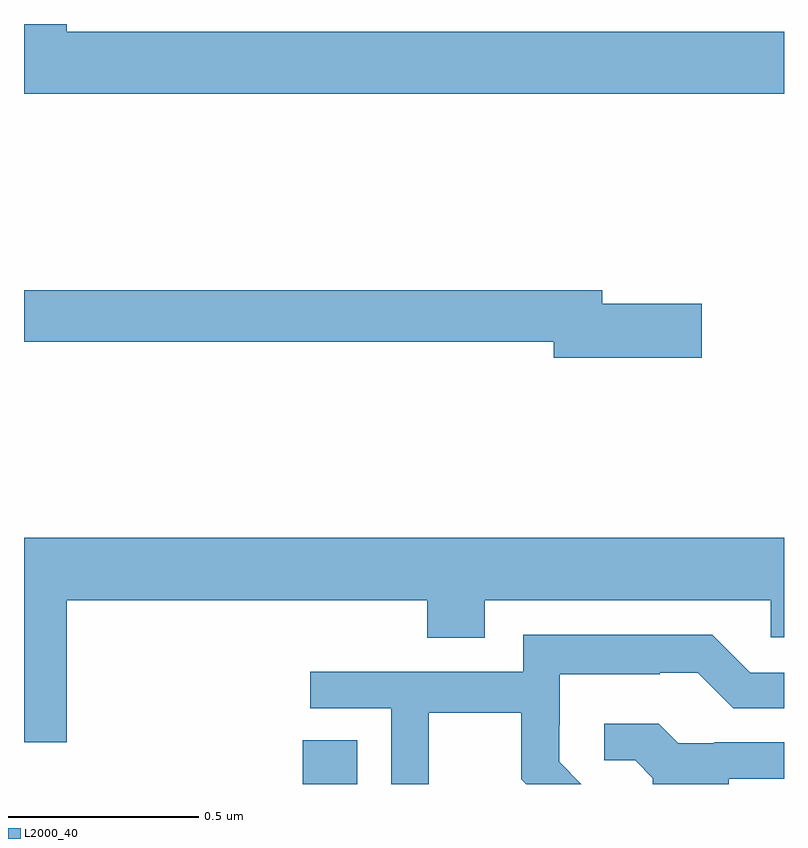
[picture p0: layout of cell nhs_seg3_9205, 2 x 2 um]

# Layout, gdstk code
import gdstk
lib = gdstk.Library(unit=1e-6, precision=1e-09)
def R(c, l, rs):  # rectangles x0, y0, x1, y1
    for r in rs: c.add(gdstk.rectangle(r[:2], r[2:], *l))
def P(c, l, *ps):  # polygons
    for p in ps: c.add(gdstk.Polygon(p, *l))
L2000_40 = (2000, 40)

nhs_seg3_9205 = lib.new_cell('nhs_seg3_9205')
R(nhs_seg3_9205, L2000_40, [(225.734,732.4,225.877,732.515)])
P(nhs_seg3_9205, L2000_40, [(227,734.38),(225.112,734.38),(225.112,734.4),(225,734.4),(225,734.216),(227,734.216)],
  [(226.783,733.664),(226.522,733.664),(226.522,733.7),(225,733.7),(225,733.564),(226.394,733.564),(226.394,733.522),(226.783,733.522)],
  [(225.112,732.884),(226.061,732.884),(226.061,732.785),(226.213,732.785),(226.213,732.884),(226.965,732.884),(226.965,732.786),(227,732.786),(227,733.048),(225,733.048),(225,732.51),(225.112,732.51)],
  [(226.065,732.588),(226.309,732.588),(226.309,732.413),(226.322,732.4),(226.466,732.4),(226.408,732.458),(226.408,732.555),(226.41,732.555),(226.41,732.689),(226.673,732.689),(226.673,732.693),(226.773,732.693),(226.866,732.6),(227,732.6),(227,732.693),(226.911,732.693),(226.811,732.793),(226.314,732.793),(226.314,732.696),(225.753,732.696),(225.753,732.6),(225.966,732.6),(225.966,732.4),(226.065,732.4)],
  [(226.855,732.414),(227,732.414),(227,732.51),(226.816,732.51),(226.816,732.507),(226.722,732.507),(226.67,732.559),(226.527,732.559),(226.527,732.462),(226.608,732.462),(226.655,732.415),(226.655,732.4),(226.855,732.4)])

lib.write_gds('nhs_seg3_9205.gds')
